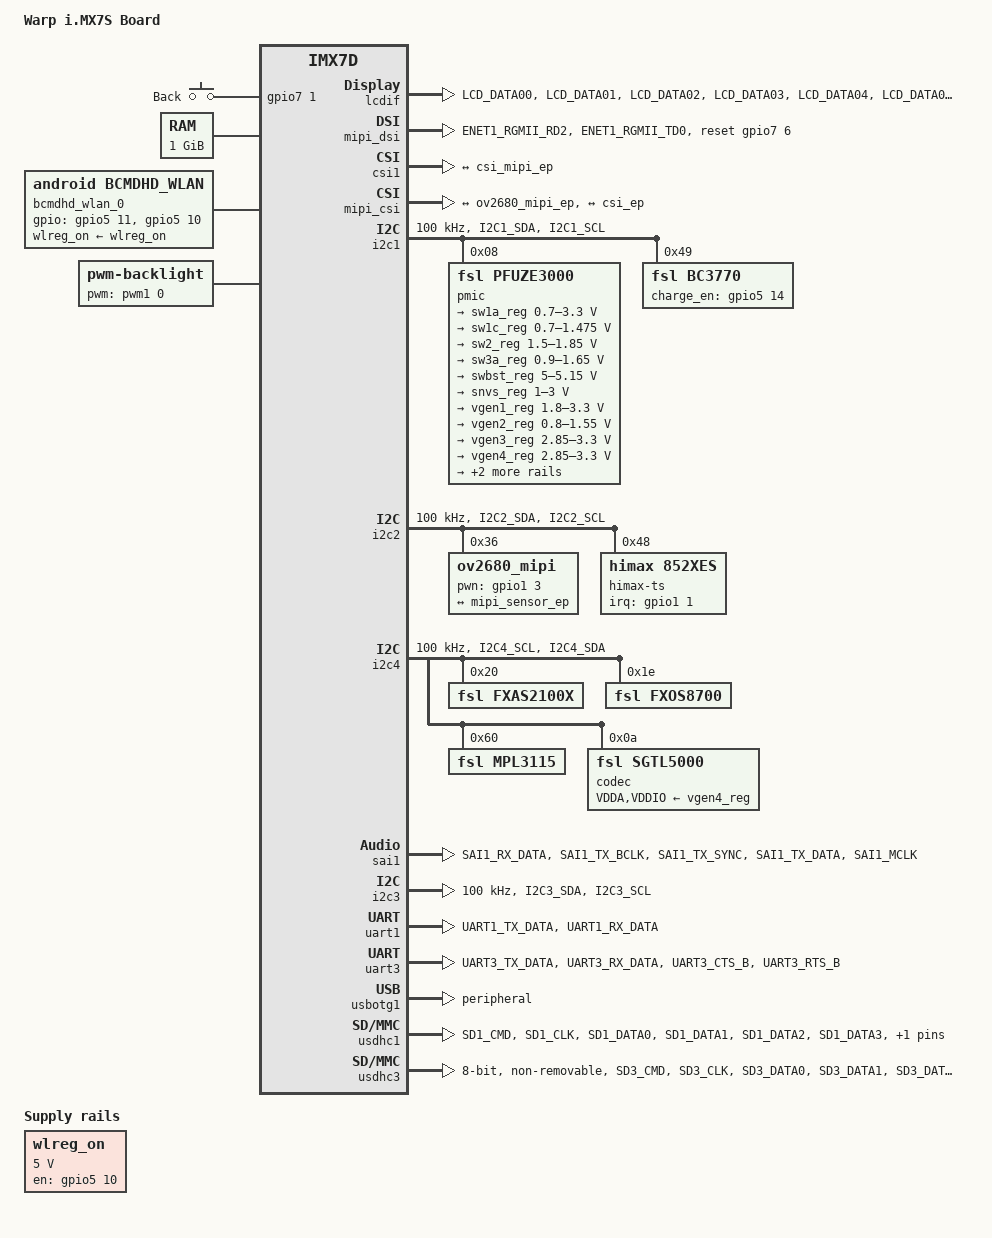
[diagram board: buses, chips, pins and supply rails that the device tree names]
/*
 * Copyright (C) 2016 NXP Semiconductors.
 * Author: Fabio Estevam <fabio.estevam@nxp.com>
 *
 * This file is dual-licensed: you can use it either under the terms
 * of the GPL or the X11 license, at your option. Note that this dual
 * licensing only applies to this file, and not this project as a
 * whole.
 *
 *  a) This file is free software; you can redistribute it and/or
 *     modify it under the terms of the GNU General Public License as
 *     published by the Free Software Foundation; either version 2 of the
 *     License, or (at your option) any later version.
 *
 *     This file is distributed in the hope that it will be useful,
 *     but WITHOUT ANY WARRANTY; without even the implied warranty of
 *     MERCHANTABILITY or FITNESS FOR A PARTICULAR PURPOSE.  See the
 *     GNU General Public License for more details.
 *
 * Or, alternatively,
 *
 *  b) Permission is hereby granted, free of charge, to any person
 *     obtaining a copy of this software and associated documentation
 *     files (the "Software"), to deal in the Software without
 *     restriction, including without limitation the rights to use,
 *     copy, modify, merge, publish, distribute, sublicense, and/or
 *     sell copies of the Software, and to permit persons to whom the
 *     Software is furnished to do so, subject to the following
 *     conditions:
 *
 *     The above copyright notice and this permission notice shall be
 *     included in all copies or substantial portions of the Software.
 *
 *     THE SOFTWARE IS PROVIDED "AS IS", WITHOUT WARRANTY OF ANY KIND,
 *     EXPRESS OR IMPLIED, INCLUDING BUT NOT LIMITED TO THE WARRANTIES
 *     OF MERCHANTABILITY, FITNESS FOR A PARTICULAR PURPOSE AND
 *     NONINFRINGEMENT. IN NO EVENT SHALL THE AUTHORS OR COPYRIGHT
 *     HOLDERS BE LIABLE FOR ANY CLAIM, DAMAGES OR OTHER LIABILITY,
 *     WHETHER IN AN ACTION OF CONTRACT, TORT OR OTHERWISE, ARISING
 *     FROM, OUT OF OR IN CONNECTION WITH THE SOFTWARE OR THE USE OR
 *     OTHER DEALINGS IN THE SOFTWARE.
 */

/dts-v1/;

#include "imx7d.dtsi"

/ {
	model = "Warp i.MX7S Board";
	compatible = "warp,imx7d-warp", "fsl,imx7d";

	gpio-keys {
		compatible = "gpio-keys";
		pinctrl-0 = <&pinctrl_gpio>;
		autorepeat;
		back {
			label = "Back";
			gpios = <&gpio7 1 GPIO_ACTIVE_HIGH>;
			linux,code = <KEY_BACK>;
			gpio-key,wakeup;
			autorepeat;
		};
	};

	memory {
		reg = <0x80000000 0x40000000>;
	};

		bcmdhd_wlan_0: bcmdhd_wlan@0 {
               compatible = "android,bcmdhd_wlan";
               /* WL_HOST_WAKE=GPIO<5,11>, WL_REG_ON=GPIO<5,10>  */
               gpios = <&gpio5 11 0>, <&gpio5 10 0>;
               wlreg_on-supply = <&wlreg_on>;
       };

       regulators {
               compatible = "simple-bus";
               #address-cells = <1>;
               #size-cells = <0>;

               wlreg_on: fixedregulator@100 {
                       compatible = "regulator-fixed";
                       regulator-min-microvolt = <5000000>;
                       regulator-max-microvolt = <5000000>;
                       regulator-name = "wlreg_on";
                       gpio = <&gpio5 10 0>; /* GPIO drives WL_REG_ON signal */
                       startup-delay-us = <100>;
                       enable-active-high;
               };
        };

	sound {
		compatible = "simple-audio-card";
		simple-audio-card,name = "imx7s-sgtl5000";
		simple-audio-card,format = "i2s";
		simple-audio-card,bitclock-master = <&dailink_master>;
		simple-audio-card,frame-master = <&dailink_master>;
		simple-audio-card,cpu {
			sound-dai = <&sai1>;
		};

		dailink_master: simple-audio-card,codec {
			sound-dai = <&codec>;
			clocks = <&clks IMX7D_AUDIO_MCLK_ROOT_CLK>;
		};
	};

	backlight {
		compatible = "pwm-backlight";
		pwms = <&pwm1 0 5000000>;
		brightness-levels = <0 4 8 16 32 64 128 255>;
		default-brightness-level = <6>;
		status = "okay";
	};

	mipi_dsi_reset: mipi-dsi-reset {
		compatible = "gpio-reset";
		/*reset-gpios = <&gpio7 6 GPIO_ACTIVE_LOW>;*/
		reset-delay-us = <50>;
		#reset-cells = <0>;
	};

	pxp_v4l2_out {
		compatible = "fsl,imx7d-pxp-v4l2", "fsl,imx6sx-pxp-v4l2", "fsl,imx6sl-pxp-v4l2";
		status = "okay";
	};	
	
};

&lcdif {

	disp-dev = "mipi_dsi_samsung";

	pinctrl-names = "default";
	pinctrl-0 = <&pinctrl_lcdif_dat
		     &pinctrl_lcdif_ctrl>;
	/* there is no direct LCD reset control pin */
	display = <&display0>;
	status = "okay";

	display0: display {
		bits-per-pixel = <16>;
		bus-width = <24>;

		display-timings {
			native-mode = <&timing0>;
			timing0: timing0 {
			clock-frequency = <9200000>;
			hactive = <480>;
			vactive = <272>;
			hfront-porch = <8>;
			hback-porch = <4>;
			hsync-len = <41>;
			vback-porch = <2>;
			vfront-porch = <4>;
			vsync-len = <10>;

			hsync-active = <0>;
			vsync-active = <0>;
			de-active = <1>;
			pixelclk-active = <0>;
			};
		};
	};
};

&mipi_dsi {
	pinctrl-names = "default";
	pinctrl-0 = <&pinctrl_enet2_epdc0_en>;
	lcd_panel = "TRULY-TDO-QVGA0150A90049";
	resets = <&mipi_dsi_reset>;
	back-light-gpios = <&gpio7 2 1>;
	reset-gpios = <&gpio7 6 0>;
	status = "okay";
};

&crypto {
	status = "disabled";
};

&clks {
	assigned-clocks = <&clks IMX7D_PLL_AUDIO_POST_DIV>;
	assigned-clock-rates = <884736000>;
};

&csi1 {
	csi-mux-mipi = <&gpr 0x14 4>;
	status = "okay";

	port {
		csi_ep: endpoint {
			remote-endpoint = <&csi_mipi_ep>;
		};
	};
};
&mipi_csi {
	clock-frequency = <240000000>;
	status = "okay";
	port {
		mipi_sensor_ep: endpoint1 {
			remote-endpoint = <&ov2680_mipi_ep>;
			data-lanes = <1>;
			csis-hs-settle = <3>;
			csis-clk-settle = <0>;
			csis-wclk;
		};

		csi_mipi_ep: endpoint2 {
			remote-endpoint = <&csi_ep>;
		};
	};
};
&cpu0 {
	arm-supply = <&sw1a_reg>;
};

&i2c1 {
	clock-frequency = <100000>;
	pinctrl-names = "default";
	pinctrl-0 = <&pinctrl_i2c1>;
	status = "okay";

	pmic: pfuze3000@08 {
		compatible = "fsl,pfuze3000";
		reg = <0x08>;

		regulators {
			sw1a_reg: sw1a {
				regulator-min-microvolt = <700000>;
				regulator-max-microvolt = <3300000>;
				regulator-boot-on;
				regulator-always-on;
				regulator-ramp-delay = <6250>;
			};

			/* use sw1c_reg to align with pfuze100/pfuze200 */
			sw1c_reg: sw1b {
				regulator-min-microvolt = <700000>;
				regulator-max-microvolt = <1475000>;
				regulator-boot-on;
				regulator-always-on;
				regulator-ramp-delay = <6250>;
			};

			sw2_reg: sw2 {
				regulator-min-microvolt = <1500000>;
				regulator-max-microvolt = <1850000>;
				regulator-boot-on;
				regulator-always-on;
			};

			sw3a_reg: sw3 {
				regulator-min-microvolt = <900000>;
				regulator-max-microvolt = <1650000>;
				regulator-boot-on;
				regulator-always-on;
			};

			swbst_reg: swbst {
				regulator-min-microvolt = <5000000>;
				regulator-max-microvolt = <5150000>;
			};

			snvs_reg: vsnvs {
				regulator-min-microvolt = <1000000>;
				regulator-max-microvolt = <3000000>;
				regulator-boot-on;
				regulator-always-on;
			};

			vref_reg: vrefddr {
				regulator-boot-on;
				regulator-always-on;
			};

			vgen1_reg: vldo1 {
				regulator-min-microvolt = <1800000>;
				regulator-max-microvolt = <3300000>;
				regulator-always-on;
			};

			vgen2_reg: vldo2 {
				regulator-min-microvolt = <800000>;
				regulator-max-microvolt = <1550000>;
				regulator-always-on;
			};

			vgen3_reg: vccsd {
				regulator-min-microvolt = <2850000>;
				regulator-max-microvolt = <3300000>;
				regulator-always-on;
			};

			vgen4_reg: v33 {
				regulator-min-microvolt = <2850000>;
				regulator-max-microvolt = <3300000>;
				regulator-always-on;
			};

			vgen5_reg: vldo3 {
				regulator-min-microvolt = <1800000>;
				regulator-max-microvolt = <3300000>;
				regulator-always-on;
			};

			vgen6_reg: vldo4 {
				regulator-min-microvolt = <1800000>;
				regulator-max-microvolt = <3300000>;
				regulator-always-on;
			};
		};
	};

	bc3770@49 {
		pinctrl-names = "default";
		pinctrl-0 = <&pinctrl_charger>;
		compatible = "fsl,bc3770";
		reg = <0x49>;
		charge_en-gpio = <&gpio5 14 GPIO_ACTIVE_HIGH>;
	};
};

&i2c2 {
	clock-frequency = <100000>;
	pinctrl-names = "default";
	pinctrl-0 = <&pinctrl_i2c2>;
	status = "okay";

        ov2680_mipi: ov2680_mipi@36 {
                compatible = "ov2680_mipi";
                reg = <0x36>;
                clocks = <&clks IMX7D_CLK_DUMMY>;
                clock-names = "csi_mclk";
                csi_id = <1>;
                pwn-gpios = <&gpio1 3 0>;
/*                 pwn-gpios = <&gpio1 0 0>;*/
               mclk = <24000000>;
                mclk_source = <0>;
                port {
                        ov2680_mipi_ep: endpoint {
                                remote-endpoint = <&mipi_sensor_ep>;
                        };
                };
        };
        himax-ts@48 {
                compatible = "himax,852xes";
                reg = <0x48>;
                pinctrl-0 = <&pinctrl_ctp>;
                interrupt-parent = <&gpio1>;
                interrupts = <1 IRQ_TYPE_EDGE_FALLING>;

                himax,panel-coords = <0 320 0 320>;
                himax,display-coords = <0 320 0 320>;
                himax,irq-gpio = <&gpio1 1 0x00>;
                report_type = <1>;
	};
	

	
};

&i2c4 {
	clock-frequency = <100000>;
	pinctrl-names = "default";
	pinctrl-0 = <&pinctrl_i2c4>;
	status = "okay";

	fxas2100x@20 {
		compatible = "fsl,fxas2100x";
		reg = <0x20>;
	};

	fxos8700@1e {
		compatible = "fsl,fxos8700";
		reg = <0x1e>;
	};

	mpl3115@60 {
		compatible = "fsl,mpl3115";
		reg = <0x60>;
	};

	codec: sgtl5000@0a {
		#sound-dai-cells = <0>;
		reg = <0x0a>;
		compatible = "fsl,sgtl5000";
		clocks = <&clks IMX7D_AUDIO_MCLK_ROOT_CLK>;
		VDDA-supply = <&vgen4_reg>;
		VDDIO-supply = <&vgen4_reg>;
	};
};

&sai1 {
	pinctrl-names = "default";
	pinctrl-0 = <&pinctrl_sai1>;
	assigned-clocks = <&clks IMX7D_SAI1_ROOT_SRC>,
			  <&clks IMX7D_SAI1_ROOT_CLK>;
	assigned-clock-parents = <&clks IMX7D_PLL_AUDIO_POST_DIV>;
	assigned-clock-rates = <0>, <36864000>;
	status = "okay";
};

&i2c3 {
	clock-frequency = <100000>;
	pinctrl-names = "default";
	pinctrl-0 = <&pinctrl_i2c3>;
	status = "okay";
};


&sdma {
	status = "okay";
};

&iomuxc_lpsr {
        pinctrl-names = "default";
        pinctrl-0 = <&pinctrl_hog_2 &pinctrl_usbotg2_pwr_2>;

        imx7d-sdb {
                pinctrl_ctp: ctp {
                        fsl,pins = <
                                MX7D_PAD_GPIO1_IO01__GPIO1_IO1    0x14
                        >;
                };

                pinctrl_hog_2: hoggrp-2 {
                        fsl,pins = <
                                MX7D_PAD_GPIO1_IO05__GPIO1_IO5    0x14
                        >;
                };

                pinctrl_usbotg2_pwr_2: usbotg2-2 {
                        fsl,pins = <
                                MX7D_PAD_GPIO1_IO07__GPIO1_IO7 0x14
                        >;
                };
	};
};

&uart1 {
	pinctrl-names = "default";
	pinctrl-0 = <&pinctrl_uart1>;
	assigned-clocks = <&clks IMX7D_UART1_ROOT_SRC>;
	assigned-clock-parents = <&clks IMX7D_OSC_24M_CLK>;
	status = "okay";
};

&uart3  {
	pinctrl-names = "default";
	pinctrl-0 = <&pinctrl_uart3>;
	assigned-clocks = <&clks IMX7D_UART3_ROOT_SRC>;
	assigned-clock-parents = <&clks IMX7D_PLL_SYS_MAIN_240M_CLK>;
	fsl,uart-has-rtscts;
	status = "okay";
};

&usbotg1 {
	dr_mode = "peripheral";
	status = "okay";
};

&usdhc1 {
	pinctrl-names = "default", "state_100mhz", "state_200mhz";
	pinctrl-0 = <&pinctrl_usdhc1>; /* "default entry selected as Murata 1DX */
	pinctrl-1 = <&pinctrl_usdhc1_100mhz>;
	pinctrl-2 = <&pinctrl_usdhc1_200mhz>;
	keep-power-in-suspend;
	enable-sdio-wakeup;
	tuning-step = <2>;
	wifi-host; /* Murata -- add hook for SD card detect mechanism */
	status = "okay";
};

&usdhc3 {
	pinctrl-names = "default", "state_100mhz", "state_200mhz";
	pinctrl-0 = <&pinctrl_usdhc3>;
	pinctrl-1 = <&pinctrl_usdhc3_100mhz>;
	pinctrl-2 = <&pinctrl_usdhc3_200mhz>;
	assigned-clocks = <&clks IMX7D_USDHC3_ROOT_CLK>;
	assigned-clock-rates = <400000000>;
	bus-width = <8>;
	tuning-step = <2>;
	non-removable;
	status = "okay";
};

&iomuxc {
	pinctrl-names = "default";

	imx7d-sdb {
		pinctrl_hog_1: hoggrp-1 {
		fsl,pins = <
			MX7D_PAD_SD2_DATA3__GPIO5_IO17	0x80000000  /* pass thru the bt reg on */
			>;
		};

		pinctrl_gpio: gpiogrp {
			fsl,pins = <
				MX7D_PAD_ENET1_RGMII_RD1__GPIO7_IO1	0x14
			>;
		};

		pinctrl_charger: bcgrp {
			fsl,pins = <
				MX7D_PAD_SD2_DATA0__GPIO5_IO14	0x14
			>;
		};

		pinctrl_i2c1: i2c1grp {
			fsl,pins = <
				MX7D_PAD_I2C1_SDA__I2C1_SDA	0x4000007f
				MX7D_PAD_I2C1_SCL__I2C1_SCL	0x4000007f
			>;
		};

		pinctrl_i2c2: i2c2grp {
			fsl,pins = <
				MX7D_PAD_I2C2_SDA__I2C2_SDA	0x4000007f
				MX7D_PAD_I2C2_SCL__I2C2_SCL	0x4000007f
			>;
		};

		pinctrl_i2c3: i2c3grp {
			fsl,pins = <
				MX7D_PAD_I2C3_SDA__I2C3_SDA          0x4000007f
				MX7D_PAD_I2C3_SCL__I2C3_SCL          0x4000007f
			>;
		};

		pinctrl_i2c4: i2c4grp {
			fsl,pins = <
				MX7D_PAD_I2C4_SCL__I2C4_SCL     0x4000007f
				MX7D_PAD_I2C4_SDA__I2C4_SDA     0x4000007f
			>;
		};
		
		pinctrl_mipi_csi: mipi_csi {
			fsl,pins = <
                               MX7D_PAD_GPIO1_IO03__GPIO1_IO3    0x14
				MX7D_PAD_ENET1_RGMII_TD0__GPIO7_IO6 0x14
                        >;
		};
		
		pinctrl_uart1: uart1grp {
			fsl,pins = <
				MX7D_PAD_UART1_TX_DATA__UART1_DCE_TX 0x79
				MX7D_PAD_UART1_RX_DATA__UART1_DCE_RX 0x79
			>;
		};

		pinctrl_sai1: sai1grp {
			fsl,pins = <
				MX7D_PAD_SAI1_RX_DATA__SAI1_RX_DATA0 	0x1f
				MX7D_PAD_SAI1_TX_BCLK__SAI1_TX_BCLK	0x1f
				MX7D_PAD_SAI1_TX_SYNC__SAI1_TX_SYNC	0x1f
				MX7D_PAD_SAI1_TX_DATA__SAI1_TX_DATA0	0x30
				MX7D_PAD_SAI1_MCLK__SAI1_MCLK		0x1f
			>;
		};

		pinctrl_uart3: uart3grp {
			fsl,pins = <
				MX7D_PAD_UART3_TX_DATA__UART3_DCE_TX 0x79
				MX7D_PAD_UART3_RX_DATA__UART3_DCE_RX 0x79
				MX7D_PAD_UART3_CTS_B__UART3_DCE_CTS 0x79
				MX7D_PAD_UART3_RTS_B__UART3_DCE_RTS 0x79
				/* BT_REG_ON is on GPIO5 IO17 and must be toggle to reset the device */
			>;
		};

		pinctrl_usdhc1: usdhc1grp {
			fsl,pins = <
				MX7D_PAD_SD1_CMD__SD1_CMD               0x59
				MX7D_PAD_SD1_CLK__SD1_CLK               0x19
				MX7D_PAD_SD1_DATA0__SD1_DATA0           0x59
				MX7D_PAD_SD1_DATA1__SD1_DATA1           0x59
				MX7D_PAD_SD1_DATA2__SD1_DATA2           0x59
				MX7D_PAD_SD1_DATA3__SD1_DATA3           0x59
				MX7D_PAD_SD2_WP__GPIO5_IO10             0x59
			>;
		};

		pinctrl_usdhc1_100mhz: usdhc1grp_100mhz {
			fsl,pins = <
				MX7D_PAD_SD1_CMD__SD1_CMD               0x5a
				MX7D_PAD_SD1_CLK__SD1_CLK               0x1a
				MX7D_PAD_SD1_DATA0__SD1_DATA0           0x5a
				MX7D_PAD_SD1_DATA1__SD1_DATA1           0x5a
				MX7D_PAD_SD1_DATA2__SD1_DATA2           0x5a
				MX7D_PAD_SD1_DATA3__SD1_DATA3           0x5a
				MX7D_PAD_SD2_WP__GPIO5_IO10             0x59 
			>;
		};

		pinctrl_usdhc1_200mhz: usdhc1grp_200mhz {
			fsl,pins = <
				MX7D_PAD_SD1_CMD__SD1_CMD               0x5b
				MX7D_PAD_SD1_CLK__SD1_CLK               0x1b
				MX7D_PAD_SD1_DATA0__SD1_DATA0           0x5b
				MX7D_PAD_SD1_DATA1__SD1_DATA1           0x5b
				MX7D_PAD_SD1_DATA2__SD1_DATA2           0x5b
				MX7D_PAD_SD1_DATA3__SD1_DATA3           0x5b
				MX7D_PAD_SD2_WP__GPIO5_IO10             0x59 
			>;
		};

		pinctrl_usdhc3: usdhc3grp {
			fsl,pins = <
				MX7D_PAD_SD3_CMD__SD3_CMD	0x59
				MX7D_PAD_SD3_CLK__SD3_CLK	0x19
				MX7D_PAD_SD3_DATA0__SD3_DATA0	0x59
				MX7D_PAD_SD3_DATA1__SD3_DATA1	0x59
				MX7D_PAD_SD3_DATA2__SD3_DATA2	0x59
				MX7D_PAD_SD3_DATA3__SD3_DATA3	0x59
				MX7D_PAD_SD3_DATA4__SD3_DATA4	0x59
				MX7D_PAD_SD3_DATA5__SD3_DATA5	0x59
				MX7D_PAD_SD3_DATA6__SD3_DATA6	0x59
				MX7D_PAD_SD3_DATA7__SD3_DATA7	0x59
				MX7D_PAD_SD3_RESET_B__SD3_RESET_B 0x19
			>;
		};

		pinctrl_usdhc3_100mhz: usdhc3grp_100mhz {
			fsl,pins = <
				MX7D_PAD_SD3_CMD__SD3_CMD	0x5a
				MX7D_PAD_SD3_CLK__SD3_CLK	0x1a
				MX7D_PAD_SD3_DATA0__SD3_DATA0	0x5a
				MX7D_PAD_SD3_DATA1__SD3_DATA1	0x5a
				MX7D_PAD_SD3_DATA2__SD3_DATA2	0x5a
				MX7D_PAD_SD3_DATA3__SD3_DATA3	0x5a
				MX7D_PAD_SD3_DATA4__SD3_DATA4	0x5a
				MX7D_PAD_SD3_DATA5__SD3_DATA5	0x5a
				MX7D_PAD_SD3_DATA6__SD3_DATA6	0x5a
				MX7D_PAD_SD3_DATA7__SD3_DATA7	0x5a
				MX7D_PAD_SD3_RESET_B__SD3_RESET_B 0x1a
			>;
		};

		pinctrl_enet2_epdc0_en: enet2_epdc0_grp {
			fsl,pins = <
			MX7D_PAD_ENET1_RGMII_RD2__GPIO7_IO2 0x00
			MX7D_PAD_ENET1_RGMII_TD0__GPIO7_IO6  0x00
			>;
		};

		pinctrl_usdhc3_200mhz: usdhc3grp_200mhz {
			fsl,pins = <
				MX7D_PAD_SD3_CMD__SD3_CMD	0x5b
				MX7D_PAD_SD3_CLK__SD3_CLK	0x1b
				MX7D_PAD_SD3_DATA0__SD3_DATA0	0x5b
				MX7D_PAD_SD3_DATA1__SD3_DATA1	0x5b
				MX7D_PAD_SD3_DATA2__SD3_DATA2	0x5b
				MX7D_PAD_SD3_DATA3__SD3_DATA3	0x5b
				MX7D_PAD_SD3_DATA4__SD3_DATA4	0x5b
				MX7D_PAD_SD3_DATA5__SD3_DATA5	0x5b
				MX7D_PAD_SD3_DATA6__SD3_DATA6	0x5b
				MX7D_PAD_SD3_DATA7__SD3_DATA7	0x5b
				MX7D_PAD_SD3_RESET_B__SD3_RESET_B 0x1b
			>;
		};

		pinctrl_lcdif_dat: lcdifdatgrp {
			fsl,pins = <
				MX7D_PAD_LCD_DATA00__LCD_DATA0	0x79
				MX7D_PAD_LCD_DATA01__LCD_DATA1	0x79
				MX7D_PAD_LCD_DATA02__LCD_DATA2	0x79
				MX7D_PAD_LCD_DATA03__LCD_DATA3	0x79
				MX7D_PAD_LCD_DATA04__LCD_DATA4	0x79
				MX7D_PAD_LCD_DATA05__LCD_DATA5	0x79
				MX7D_PAD_LCD_DATA06__LCD_DATA6	0x79
				MX7D_PAD_LCD_DATA07__LCD_DATA7	0x79
				MX7D_PAD_LCD_DATA08__LCD_DATA8	0x79
				MX7D_PAD_LCD_DATA09__LCD_DATA9	0x79
				MX7D_PAD_LCD_DATA10__LCD_DATA10	0x79
				MX7D_PAD_LCD_DATA11__LCD_DATA11	0x79
				MX7D_PAD_LCD_DATA12__LCD_DATA12	0x79
				MX7D_PAD_LCD_DATA13__LCD_DATA13	0x79
				MX7D_PAD_LCD_DATA14__LCD_DATA14	0x79
				MX7D_PAD_LCD_DATA15__LCD_DATA15	0x79
				MX7D_PAD_LCD_DATA16__LCD_DATA16	0x79
				MX7D_PAD_LCD_DATA17__LCD_DATA17	0x79
				MX7D_PAD_LCD_DATA18__LCD_DATA18	0x79
				MX7D_PAD_LCD_DATA19__LCD_DATA19	0x79
				MX7D_PAD_LCD_DATA20__LCD_DATA20	0x79
				MX7D_PAD_LCD_DATA21__LCD_DATA21	0x79
				MX7D_PAD_LCD_DATA22__LCD_DATA22	0x79
				MX7D_PAD_LCD_DATA23__LCD_DATA23	0x79
			>;
		};

		pinctrl_lcdif_ctrl: lcdifctrlgrp {
			fsl,pins = <
				MX7D_PAD_LCD_CLK__LCD_CLK	0x79
				MX7D_PAD_LCD_ENABLE__LCD_ENABLE	0x79
				MX7D_PAD_LCD_VSYNC__LCD_VSYNC	0x79
				MX7D_PAD_LCD_HSYNC__LCD_HSYNC	0x79
				MX7D_PAD_LCD_RESET__LCD_RESET	0x79
			>;
		};

	};
};
